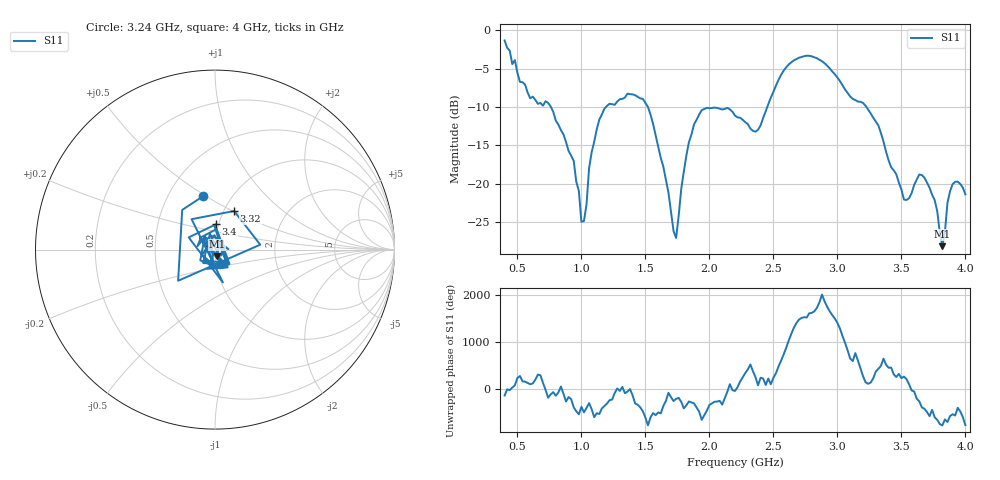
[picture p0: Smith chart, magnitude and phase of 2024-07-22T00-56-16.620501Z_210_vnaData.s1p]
!Created with skrf (http://scikit-rf.org).
# Hz S RI R 50.0
!freq ReS11 ImS11
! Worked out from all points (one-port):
!   181 points, 400 MHz to 4 GHz, reference 50 ohm
!   lowest |S11| = -28.2 dB at 3.82 GHz (marker M1), VSWR 1.08, Z = 51.1 - j3.81 ohm
!   |S11| at or under -10 dB: 761.4 MHz to 1.193 GHz (431.3 MHz wide, 44.1 % of centre); 1.52 GHz to 2.452 GHz (932.7 MHz wide, 47 % of centre); 3.226 GHz to end of sweep
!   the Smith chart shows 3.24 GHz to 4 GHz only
!   S11 on the Smith chart (normalised r, x): 3.24 GHz: 0.74, +0.48; 3.32 GHz: 1.12, +0.51; 3.4 GHz: 0.97, +0.28; 4 GHz: 1.06, -0.17
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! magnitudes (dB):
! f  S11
! 400 MHz  -1.3
! 600 MHz  -8.9
! 860 MHz  -13.6
! 940 MHz  -17.0
! 1 GHz  -25.0
! 1.02 GHz  -24.9
! 1.06 GHz  -18.0
! 1.14 GHz  -11.7
! 1.3 GHz  -9.0
! 1.52 GHz  -10.0
! 1.72 GHz  -26.2
! 1.76 GHz  -24.2
! 1.84 GHz  -14.6
! 1.92 GHz  -11.0
! 2.2 GHz  -11.1
! 2.38 GHz  -13.0
! 2.66 GHz  -3.9
! 2.88 GHz  -4.1
! 3.1 GHz  -8.6
! 3.24 GHz  -10.3
! 3.32 GHz  -12.4
! 3.4 GHz  -17.0
! 3.56 GHz  -21.9
! 3.68 GHz  -19.2
! 3.76 GHz  -22.2
! 3.82 GHz  -28.2
! 3.9 GHz  -20.1
! 4 GHz  -21.4
